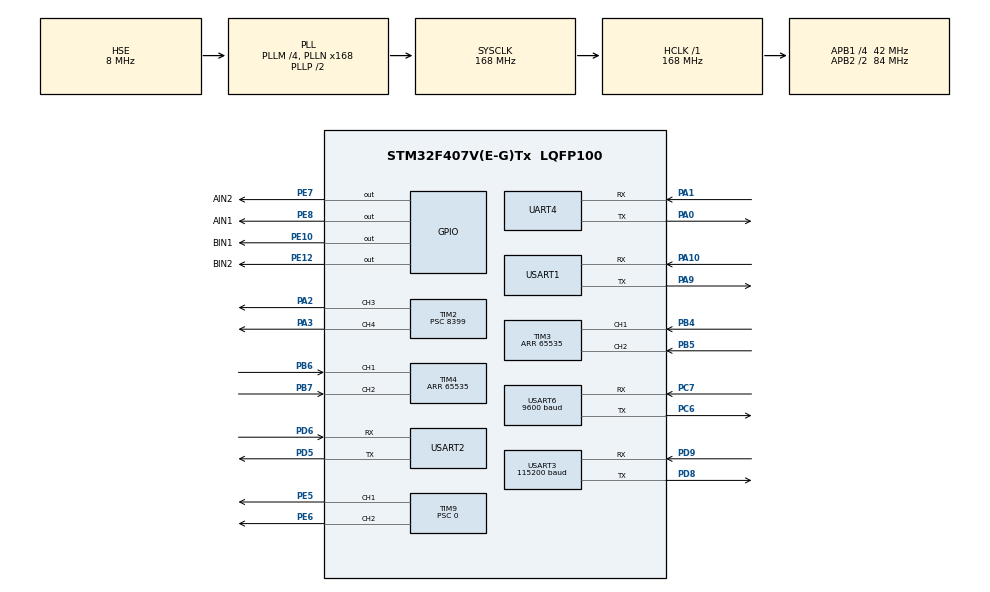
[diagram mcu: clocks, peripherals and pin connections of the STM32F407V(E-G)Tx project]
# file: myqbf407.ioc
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Dma.Request0=USART2_RX
Dma.Request1=USART2_TX
Dma.Request2=USART6_TX
Dma.Request3=USART6_RX
Dma.Request4=USART3_RX
Dma.Request5=USART3_TX
Dma.USART2_RX.0.Direction=DMA_PERIPH_TO_MEMORY
Dma.USART2_RX.0.FIFOMode=DMA_FIFOMODE_DISABLE
Dma.USART2_RX.0.Instance=DMA1_Stream5
Dma.USART2_RX.0.MemDataAlignment=DMA_MDATAALIGN_BYTE
Dma.USART2_RX.0.MemInc=DMA_MINC_ENABLE
Dma.USART2_RX.0.Mode=DMA_NORMAL
Dma.USART2_RX.0.PeriphDataAlignment=DMA_PDATAALIGN_BYTE
Dma.USART2_RX.0.PeriphInc=DMA_PINC_DISABLE
Dma.USART2_RX.0.Priority=DMA_PRIORITY_LOW
Dma.USART2_TX.1.Direction=DMA_MEMORY_TO_PERIPH
Dma.USART2_TX.1.FIFOMode=DMA_FIFOMODE_DISABLE
Dma.USART2_TX.1.Instance=DMA1_Stream6
Dma.USART2_TX.1.MemDataAlignment=DMA_MDATAALIGN_BYTE
Dma.USART2_TX.1.MemInc=DMA_MINC_ENABLE
Dma.USART2_TX.1.Mode=DMA_NORMAL
Dma.USART2_TX.1.PeriphDataAlignment=DMA_PDATAALIGN_BYTE
Dma.USART2_TX.1.PeriphInc=DMA_PINC_DISABLE
Dma.USART2_TX.1.Priority=DMA_PRIORITY_LOW
Dma.USART3_RX.4.Direction=DMA_PERIPH_TO_MEMORY
Dma.USART3_RX.4.FIFOMode=DMA_FIFOMODE_DISABLE
Dma.USART3_RX.4.Instance=DMA1_Stream1
Dma.USART3_RX.4.MemDataAlignment=DMA_MDATAALIGN_BYTE
Dma.USART3_RX.4.MemInc=DMA_MINC_ENABLE
Dma.USART3_RX.4.Mode=DMA_NORMAL
Dma.USART3_RX.4.PeriphDataAlignment=DMA_PDATAALIGN_BYTE
Dma.USART3_RX.4.PeriphInc=DMA_PINC_DISABLE
Dma.USART3_RX.4.Priority=DMA_PRIORITY_LOW
Dma.USART3_TX.5.Direction=DMA_MEMORY_TO_PERIPH
Dma.USART3_TX.5.FIFOMode=DMA_FIFOMODE_DISABLE
Dma.USART3_TX.5.Instance=DMA1_Stream3
Dma.USART3_TX.5.MemDataAlignment=DMA_MDATAALIGN_BYTE
Dma.USART3_TX.5.MemInc=DMA_MINC_ENABLE
Dma.USART3_TX.5.Mode=DMA_NORMAL
Dma.USART3_TX.5.PeriphDataAlignment=DMA_PDATAALIGN_BYTE
Dma.USART3_TX.5.PeriphInc=DMA_PINC_DISABLE
Dma.USART3_TX.5.Priority=DMA_PRIORITY_LOW
Dma.USART6_RX.3.Direction=DMA_PERIPH_TO_MEMORY
Dma.USART6_RX.3.FIFOMode=DMA_FIFOMODE_DISABLE
Dma.USART6_RX.3.Instance=DMA2_Stream1
Dma.USART6_RX.3.MemDataAlignment=DMA_MDATAALIGN_BYTE
Dma.USART6_RX.3.MemInc=DMA_MINC_ENABLE
Dma.USART6_RX.3.Mode=DMA_NORMAL
Dma.USART6_RX.3.PeriphDataAlignment=DMA_PDATAALIGN_BYTE
Dma.USART6_RX.3.PeriphInc=DMA_PINC_DISABLE
Dma.USART6_RX.3.Priority=DMA_PRIORITY_LOW
Dma.USART6_TX.2.Direction=DMA_MEMORY_TO_PERIPH
Dma.USART6_TX.2.FIFOMode=DMA_FIFOMODE_DISABLE
Dma.USART6_TX.2.Instance=DMA2_Stream6
Dma.USART6_TX.2.MemDataAlignment=DMA_MDATAALIGN_BYTE
Dma.USART6_TX.2.MemInc=DMA_MINC_ENABLE
Dma.USART6_TX.2.Mode=DMA_NORMAL
Dma.USART6_TX.2.PeriphDataAlignment=DMA_PDATAALIGN_BYTE
Dma.USART6_TX.2.PeriphInc=DMA_PINC_DISABLE
Dma.USART6_TX.2.Priority=DMA_PRIORITY_LOW
Mcu.Family=STM32F4
Mcu.Name=STM32F407V(E-G)Tx
Mcu.Package=LQFP100
NVIC.DMA1_Stream1_IRQn=true\:1\:0\:true\:false\:true\:false\:true\:true
NVIC.DMA1_Stream3_IRQn=true\:1\:0\:true\:false\:true\:false\:true\:true
NVIC.DMA1_Stream5_IRQn=true\:0\:0\:true\:false\:true\:false\:true\:true
NVIC.DMA1_Stream6_IRQn=true\:0\:0\:true\:false\:true\:false\:true\:true
NVIC.DMA2_Stream1_IRQn=true\:3\:0\:true\:false\:true\:false\:true\:true
NVIC.DMA2_Stream6_IRQn=true\:3\:0\:true\:false\:true\:false\:true\:true
NVIC.PriorityGroup=NVIC_PRIORITYGROUP_4
NVIC.RCC_IRQn=true\:0\:0\:false\:false\:true\:true\:false\:true
NVIC.TIM3_IRQn=true\:0\:0\:false\:false\:true\:true\:true\:true
NVIC.TIM4_IRQn=true\:0\:0\:false\:false\:true\:true\:true\:true
NVIC.TIM6_DAC_IRQn=true\:6\:0\:true\:false\:true\:true\:true\:true
NVIC.TIM7_IRQn=true\:1\:0\:true\:false\:true\:true\:true\:true
NVIC.UART4_IRQn=true\:1\:0\:true\:false\:true\:true\:true\:true
NVIC.USART1_IRQn=true\:3\:0\:true\:false\:true\:true\:true\:true
PA0-WKUP.Mode=Asynchronous
PA0-WKUP.Signal=UART4_TX
PA1.Mode=Asynchronous
PA1.Signal=UART4_RX
PA10.Mode=Asynchronous
PA10.Signal=USART1_RX
PA13.Mode=Serial_Wire
PA13.Signal=SYS_JTMS-SWDIO
PA14.Mode=Serial_Wire
PA14.Signal=SYS_JTCK-SWCLK
PA2.Signal=S_TIM2_CH3
PA3.Signal=S_TIM2_CH4
PA9.Mode=Asynchronous
PA9.Signal=USART1_TX
PB4.GPIO_PuPd=GPIO_PULLUP
PB4.GPIO_Speed=GPIO_SPEED_FREQ_LOW
PB4.Signal=S_TIM3_CH1
PB5.GPIO_PuPd=GPIO_PULLUP
PB5.GPIO_Speed=GPIO_SPEED_FREQ_LOW
PB5.Signal=S_TIM3_CH2
PB6.GPIO_PuPd=GPIO_PULLUP
PB6.GPIO_Speed=GPIO_SPEED_FREQ_LOW
PB6.Signal=S_TIM4_CH1
PB7.GPIO_PuPd=GPIO_PULLUP
PB7.GPIO_Speed=GPIO_SPEED_FREQ_LOW
PB7.Signal=S_TIM4_CH2
PC14-OSC32_IN.Mode=LSE-External-Oscillator
PC14-OSC32_IN.Signal=RCC_OSC32_IN
PC15-OSC32_OUT.Mode=LSE-External-Oscillator
PC15-OSC32_OUT.Signal=RCC_OSC32_OUT
PC6.Mode=Asynchronous
PC6.Signal=USART6_TX
PC7.Mode=Asynchronous
PC7.Signal=USART6_RX
PD5.Mode=Asynchronous
PD5.Signal=USART2_TX
PD6.Mode=Asynchronous
PD6.Signal=USART2_RX
PD8.Mode=Asynchronous
PD8.Signal=USART3_TX
PD9.Mode=Asynchronous
PD9.Signal=USART3_RX
PE10.GPIO_Label=BIN1
PE10.Signal=GPIO_Output
PE12.GPIO_Label=BIN2
PE12.Signal=GPIO_Output
PE5.Signal=S_TIM9_CH1
PE6.Signal=S_TIM9_CH2
PE7.GPIO_Label=AIN2
PE7.Signal=GPIO_Output
PE8.GPIO_Label=AIN1
PE8.Signal=GPIO_Output
PH0-OSC_IN.Mode=HSE-External-Oscillator
PH0-OSC_IN.Signal=RCC_OSC_IN
PH1-OSC_OUT.Mode=HSE-External-Oscillator
PH1-OSC_OUT.Signal=RCC_OSC_OUT
ProjectManager.HeapSize=0x200
ProjectManager.StackSize=0x400
ProjectManager.TargetToolchain=MDK-ARM V5.32
RCC.48MHZClocksFreq_Value=84000000
RCC.AHBFreq_Value=168000000
RCC.APB1CLKDivider=RCC_HCLK_DIV4
RCC.APB1Freq_Value=42000000
RCC.APB1TimFreq_Value=84000000
RCC.APB2CLKDivider=RCC_HCLK_DIV2
RCC.APB2Freq_Value=84000000
RCC.APB2TimFreq_Value=168000000
RCC.CortexFreq_Value=168000000
RCC.HCLKFreq_Value=168000000
RCC.HSE_VALUE=8000000
RCC.HSI_VALUE=16000000
RCC.PLLM=4
RCC.PLLN=168
RCC.PLLSourceVirtual=RCC_PLLSOURCE_HSE
RCC.SYSCLKFreq_VALUE=168000000
RCC.SYSCLKSource=RCC_SYSCLKSOURCE_PLLCLK
RCC.VCOOutputFreq_Value=336000000
SH.S_TIM2_CH3.0=TIM2_CH3,PWM Generation3 CH3
SH.S_TIM2_CH4.0=TIM2_CH4,PWM Generation4 CH4
SH.S_TIM3_CH1.0=TIM3_CH1,Encoder_Interface
SH.S_TIM3_CH2.0=TIM3_CH2,Encoder_Interface
SH.S_TIM4_CH1.0=TIM4_CH1,Encoder_Interface
SH.S_TIM4_CH2.0=TIM4_CH2,Encoder_Interface
SH.S_TIM9_CH1.0=TIM9_CH1,PWM Generation1 CH1
SH.S_TIM9_CH2.0=TIM9_CH2,PWM Generation2 CH2
TIM2.Channel-PWM\ Generation3\ CH3=TIM_CHANNEL_3
TIM2.Channel-PWM\ Generation4\ CH4=TIM_CHANNEL_4
TIM2.Period=200
TIM2.Prescaler=8399
TIM3.EncoderMode=TIM_ENCODERMODE_TI12
TIM3.IC1Filter=0
TIM3.IC2Filter=0
TIM3.Period=65535
TIM4.EncoderMode=TIM_ENCODERMODE_TI12
TIM4.IC1Filter=0
TIM4.IC2Filter=0
TIM4.Period=65535
TIM6.Period=9999
TIM6.Prescaler=83
TIM7.Period=9999
TIM7.Prescaler=83
TIM9.Channel-PWM\ Generation1\ CH1=TIM_CHANNEL_1
TIM9.Channel-PWM\ Generation2\ CH2=TIM_CHANNEL_2
TIM9.Period=16800-1
TIM9.Prescaler=0
UART4.VirtualMode=Asynchronous
USART1.VirtualMode=VM_ASYNC
USART2.VirtualMode=VM_ASYNC
USART3.BaudRate=115200
USART3.VirtualMode=VM_ASYNC
USART6.BaudRate=9600
USART6.VirtualMode=VM_ASYNC
VP_TIM6_VS_ClockSourceINT.Mode=Enable_Timer
VP_TIM7_VS_ClockSourceINT.Mode=Enable_Timer
board=custom

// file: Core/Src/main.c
/* USER CODE BEGIN Header */
/**
  ******************************************************************************
  * @file           : main.c
  * @brief          : Main program body
  ******************************************************************************
  * @attention
  *
  * Copyright (c) 2025 STMicroelectronics.
  * All rights reserved.
  *
  * This software is licensed under terms that can be found in the LICENSE file
  * in the root directory of this software component.
  * If no LICENSE file comes with this software, it is provided AS-IS.
  *
  ******************************************************************************
  */
/* USER CODE END Header */
#include "main.h"
#include "dma.h"
#include "tim.h"
#include "usart.h"
#include "gpio.h"

/* USER CODE BEGIN Includes */
#include "head.h"
/* USER CODE END Includes */

void SystemClock_Config(void);

int main(void)
{

  /* USER CODE BEGIN 1 */
	Encoder_Init();
  /* USER CODE END 1 */

  /* MCU Configuration--------------------------------------------------------*/

  /* Reset of all peripherals, Initializes the Flash interface and the Systick. */
  HAL_Init();

  /* Configure the system clock */
  SystemClock_Config();

  /* Initialize all configured peripherals */
  MX_GPIO_Init();
  MX_DMA_Init();
  MX_TIM9_Init();
  MX_USART2_UART_Init();
  MX_USART6_UART_Init();
  MX_TIM3_Init();
  MX_TIM4_Init();
  MX_USART1_UART_Init();
  MX_TIM7_Init();
  MX_USART3_UART_Init();
  MX_TIM6_Init();
  MX_UART4_Init();
  MX_TIM2_Init();
  /* USER CODE BEGIN 2 */
	HAL_TIM_PWM_Start(&htim9, TIM_CHANNEL_1);  //
	HAL_TIM_PWM_Start(&htim9, TIM_CHANNEL_2);  //
	HAL_TIM_PWM_Start(&htim2, TIM_CHANNEL_3);
	HAL_TIM_PWM_Start(&htim2, TIM_CHANNEL_4);
	HAL_TIM_Encoder_Start(&htim4, TIM_CHANNEL_ALL);  //
	HAL_TIM_Encoder_Start(&htim3, TIM_CHANNEL_ALL);  //

	HAL_TIM_Base_Start_IT(&htim3);  //
	HAL_TIM_Base_Start_IT(&htim4);  //
	HAL_TIM_Base_Start_IT(&htim6);  //
	HAL_TIM_Base_Start_IT(&htim7);  //

	HAL_UART_Receive_DMA(&huart2, &g_Usart2_ReceiveData, 1);  //
	HAL_UART_Receive_DMA(&huart6, &g_Usart6_ReceiveData, 1);  //
	HAL_UART_Receive_DMA(&huart3, RxBuffer, 1);	//�?启串口接收中�?

  jy62_init();  //
	protocol_test_init();
	// 初始化自定义FILE指针
	init_custom_streams();  //
  /* USER CODE END 2 */

  /* Infinite loop */
  while (1)
  {

  }
}

void SystemClock_Config(void)
{
  RCC_OscInitTypeDef RCC_OscInitStruct = {0};
  RCC_ClkInitTypeDef RCC_ClkInitStruct = {0};

  /** Configure the main internal regulator output voltage
  */
  __HAL_RCC_PWR_CLK_ENABLE();
  __HAL_PWR_VOLTAGESCALING_CONFIG(PWR_REGULATOR_VOLTAGE_SCALE1);

  /** Initializes the RCC Oscillators according to the specified parameters
  * in the RCC_OscInitTypeDef structure.
  */
  RCC_OscInitStruct.OscillatorType = RCC_OSCILLATORTYPE_HSE;
  RCC_OscInitStruct.HSEState = RCC_HSE_ON;
  RCC_OscInitStruct.PLL.PLLState = RCC_PLL_ON;
  RCC_OscInitStruct.PLL.PLLSource = RCC_PLLSOURCE_HSE;
  RCC_OscInitStruct.PLL.PLLM = 4;
  RCC_OscInitStruct.PLL.PLLN = 168;
  RCC_OscInitStruct.PLL.PLLP = RCC_PLLP_DIV2;
  RCC_OscInitStruct.PLL.PLLQ = 4;
  if (HAL_RCC_OscConfig(&RCC_OscInitStruct) != HAL_OK)
  {
    Error_Handler();
  }

  /** Initializes the CPU, AHB and APB buses clocks
  */
  RCC_ClkInitStruct.ClockType = RCC_CLOCKTYPE_HCLK|RCC_CLOCKTYPE_SYSCLK
                              |RCC_CLOCKTYPE_PCLK1|RCC_CLOCKTYPE_PCLK2;
  RCC_ClkInitStruct.SYSCLKSource = RCC_SYSCLKSOURCE_PLLCLK;
  RCC_ClkInitStruct.AHBCLKDivider = RCC_SYSCLK_DIV1;
  RCC_ClkInitStruct.APB1CLKDivider = RCC_HCLK_DIV4;
  RCC_ClkInitStruct.APB2CLKDivider = RCC_HCLK_DIV2;

  if (HAL_RCC_ClockConfig(&RCC_ClkInitStruct, FLASH_LATENCY_5) != HAL_OK)
  {
    Error_Handler();
  }
}

void Error_Handler(void)
{
  __disable_irq();
  while (1)
  {
  }
}
